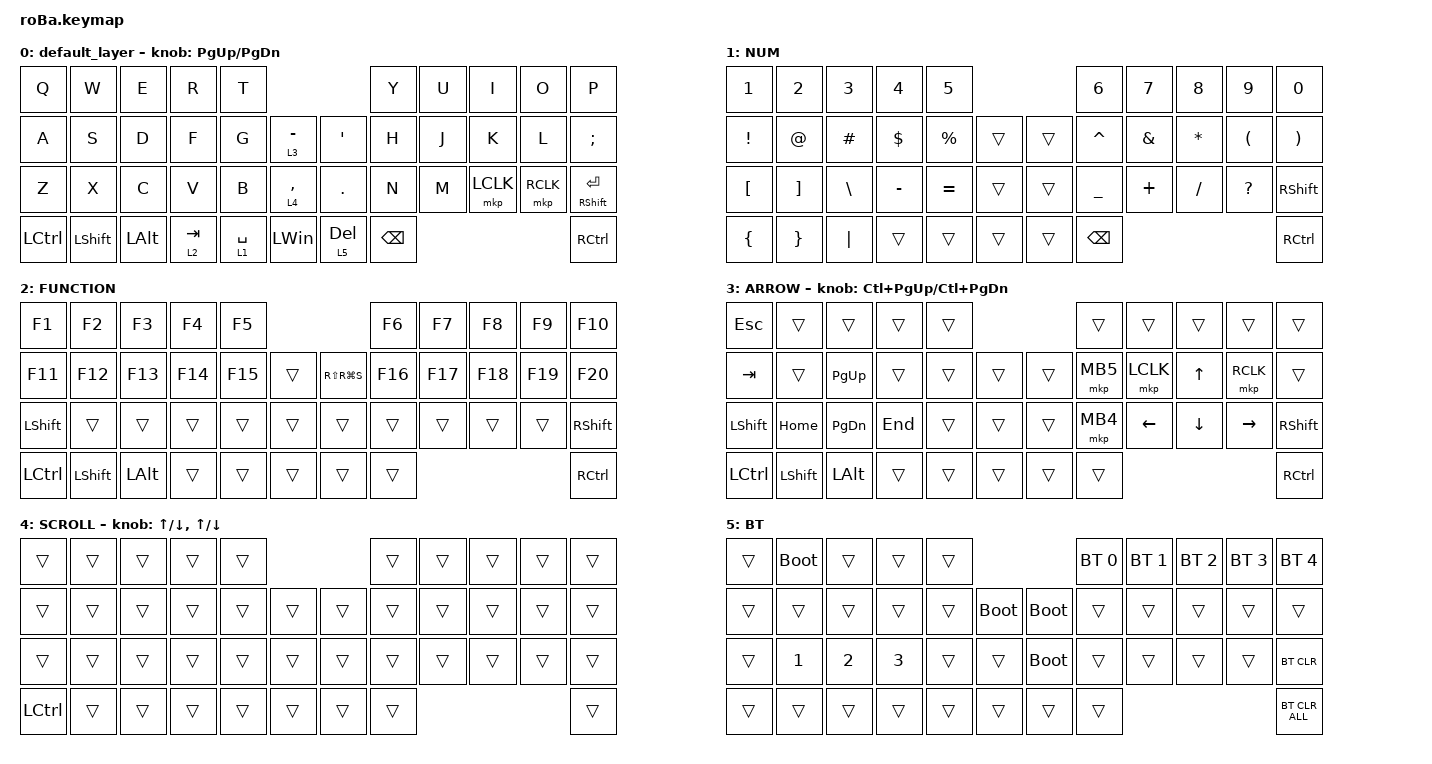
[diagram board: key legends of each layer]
#include <behaviors.dtsi>
#include <dt-bindings/zmk/bt.h>
#include <dt-bindings/zmk/keys.h>
#include <dt-bindings/zmk/pointing.h>

&mt {
    flavor = "balanced";
    quick-tap-ms = <0>;
};

&trackball {
    scroll-layers = <4>;

    // arrows {
    //     layers = <3>;
    //     bindings =
    //         <&kp RIGHT_ARROW>,
    //         <&kp LEFT_ARROW>,
    //         <&kp UP_ARROW>,
    //         <&kp DOWN_ARROW>;
    //     tick = <10>;
    //     wait-ms = <5>;
    //     tap-ms = <5>;
    // };
};

/ {
    combos {
        compatible = "zmk,combos";

        tab {
            bindings = <&kp TAB>;
            key-positions = <10 11>;
            layers = <0>;
        };

        esc {
            bindings = <&kp ESC>;
            key-positions = <0 1>;
            layers = <0>;
        };

        pgup {
            bindings = <&kp PG_UP>;
            key-positions = <12 13>;
        };

        pgdown {
            bindings = <&kp PAGE_DOWN>;
            key-positions = <24 25>;
        };

        home {
            bindings = <&kp HOME>;
            key-positions = <23 24>;
        };

        end {
            bindings = <&kp END>;
            key-positions = <26 25>;
        };

        mb4 {
            bindings = <&mkp MB4>;
            key-positions = <17 18>;
        };

        mb5 {
            bindings = <&mkp MB5>;
            key-positions = <19 20>;
        };

        left {
            bindings = <&kp LEFT>;
            key-positions = <29 30>;
        };

        right {
            bindings = <&kp RIGHT>;
            key-positions = <31 32>;
        };

        up {
            bindings = <&kp UP_ARROW>;
            key-positions = <18 19>;
        };

        down {
            bindings = <&kp DOWN>;
            key-positions = <30 31>;
        };
    };

    macros {
        to_layer_0: to_layer_0 {
            compatible = "zmk,behavior-macro-one-param";
            #binding-cells = <1>;
            bindings = <&to 0 &macro_param_1to1 &kp MACRO_PLACEHOLDER>;
            label = "TO_LAYER_0";
        };
    };

    behaviors {
        lt_to_layer_0: lt_to_layer_0 {
            compatible = "zmk,behavior-hold-tap";
            label = "LAYER_TAP_TO_0";
            bindings = <&mo>, <&to_layer_0>;

            #binding-cells = <2>;
            tapping-term-ms = <200>;
            flavor = "balanced";
        };
    };

    keymap {
        compatible = "zmk,keymap";

        default_layer {
            bindings = <
&kp Q      &kp W           &kp E         &kp R      &kp T                                            &kp Y          &kp U  &kp I      &kp O      &kp P
&kp A      &kp S           &kp D         &kp F      &kp G        &lt 3 MINUS       &kp SINGLE_QUOTE  &kp H          &kp J  &kp K      &kp L      &kp SEMI
&kp Z      &kp X           &kp C         &kp V      &kp B        &lt 4 COMMA       &kp DOT           &kp N          &kp M  &mkp LCLK  &mkp RCLK  &mt RIGHT_SHIFT ENTER
&kp LCTRL  &kp LEFT_SHIFT  &kp LEFT_ALT  &lt 2 TAB  &lt 1 SPACE  &kp LEFT_WIN      &lt 5 DEL         &kp BACKSPACE                               &kp RCTRL
            >;

            sensor-bindings = <&inc_dec_kp PG_UP PAGE_DOWN>;
        };

        NUM {
            bindings = <
&kp NUMBER_1      &kp NUMBER_2       &kp NUMBER_3   &kp NUMBER_4  &kp NUMBER_5                      &kp NUMBER_6    &kp NUMBER_7   &kp NUMBER_8  &kp NUMBER_9          &kp NUMBER_0
&kp EXCLAMATION   &kp AT_SIGN        &kp HASH       &kp DOLLAR    &kp PERCENT   &trans      &trans  &kp CARET       &kp AMPERSAND  &kp ASTERISK  &kp LEFT_PARENTHESIS  &kp RIGHT_PARENTHESIS
&kp LEFT_BRACKET  &kp RIGHT_BRACKET  &kp BACKSLASH  &kp MINUS     &kp EQUAL     &trans      &trans  &kp UNDERSCORE  &kp PLUS       &kp SLASH     &kp QUESTION          &kp RIGHT_SHIFT
&kp LEFT_BRACE    &kp RIGHT_BRACE    &kp PIPE       &trans        &trans        &trans      &trans  &kp BACKSPACE                                                      &kp RCTRL
            >;
        };

        FUNCTION {
            bindings = <
&kp F1          &kp F2          &kp F3        &kp F4   &kp F5                              &kp F6   &kp F7   &kp F8   &kp F9   &kp F10
&kp F11         &kp F12         &kp F13       &kp F14  &kp F15  &trans      &kp RS(RG(S))  &kp F16  &kp F17  &kp F18  &kp F19  &kp F20
&kp LEFT_SHIFT  &trans          &trans        &trans   &trans   &trans      &trans         &trans   &trans   &trans   &trans   &kp RIGHT_SHIFT
&kp LCTRL       &kp LEFT_SHIFT  &kp LEFT_ALT  &trans   &trans   &trans      &trans         &trans                              &kp RCTRL
            >;
        };

        ARROW {
            bindings = <
&kp ESCAPE      &trans          &trans         &trans   &trans                      &trans    &trans          &trans          &trans     &trans
&kp TAB         &trans          &kp PAGE_UP    &trans   &trans  &trans      &trans  &mkp MB5  &mkp LCLK       &kp UP_ARROW    &mkp RCLK  &trans
&kp LEFT_SHIFT  &kp HOME        &kp PAGE_DOWN  &kp END  &trans  &trans      &trans  &mkp MB4  &kp LEFT_ARROW  &kp DOWN_ARROW  &kp RIGHT  &kp RIGHT_SHIFT
&kp LCTRL       &kp LEFT_SHIFT  &kp LEFT_ALT   &trans   &trans  &trans      &trans  &trans                                               &kp RCTRL
            >;

            sensor-bindings = <&inc_dec_kp LC(PAGE_UP) LC(PAGE_DOWN)>;
        };

        SCROLL {
            bindings = <
&trans     &trans  &trans  &trans  &trans                      &trans  &trans  &trans  &trans  &trans
&trans     &trans  &trans  &trans  &trans  &trans      &trans  &trans  &trans  &trans  &trans  &trans
&trans     &trans  &trans  &trans  &trans  &trans      &trans  &trans  &trans  &trans  &trans  &trans
&kp LCTRL  &trans  &trans  &trans  &trans  &trans      &trans  &trans                          &trans
            >;

            sensor-bindings =
                <&inc_dec_kp UP_ARROW DOWN_ARROW>,
                <&inc_dec_kp UP_ARROW DOWN_ARROW>;
        };

        BT {
            bindings = <
&trans  &bootloader   &trans        &trans        &trans                                &bt BT_SEL 0  &bt BT_SEL 1  &bt BT_SEL 2  &bt BT_SEL 3  &bt BT_SEL 4
&trans  &trans        &trans        &trans        &trans  &bootloader      &bootloader  &trans        &trans        &trans        &trans        &trans
&trans  &kp NUMBER_1  &kp NUMBER_2  &kp NUMBER_3  &trans  &trans           &bootloader  &trans        &trans        &trans        &trans        &bt BT_CLR
&trans  &trans        &trans        &trans        &trans  &trans           &trans       &trans                                                  &bt BT_CLR_ALL
            >;
        };
    };
};
